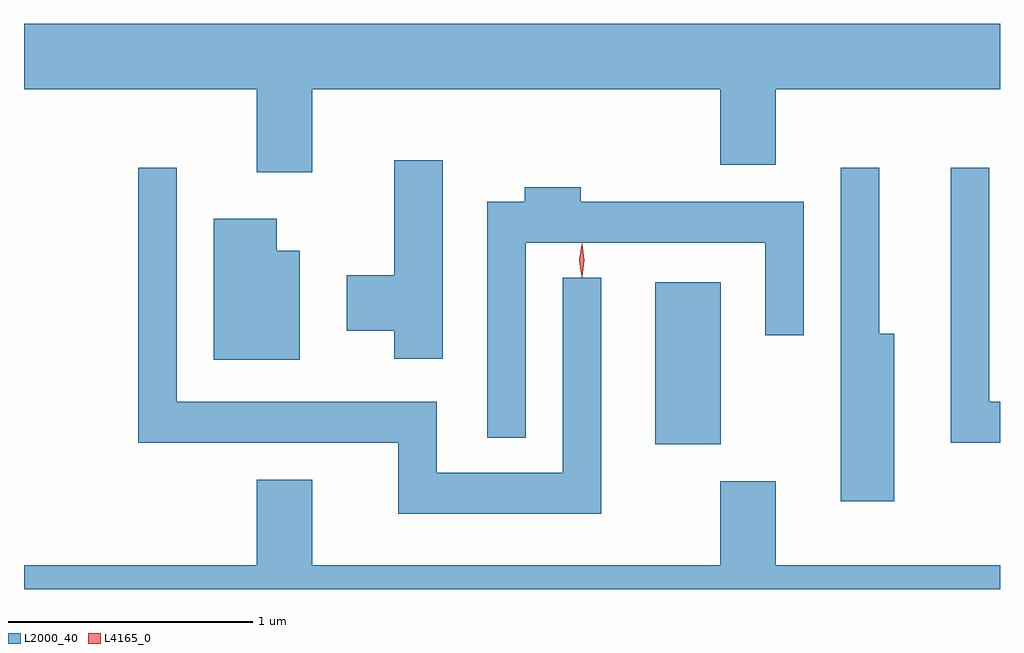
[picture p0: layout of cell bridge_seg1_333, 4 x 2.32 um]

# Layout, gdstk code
import gdstk
lib = gdstk.Library(unit=1e-6, precision=1e-09)
def R(c, l, rs):  # rectangles x0, y0, x1, y1
    for r in rs: c.add(gdstk.rectangle(r[:2], r[2:], *l))
def P(c, l, *ps):  # polygons
    for p in ps: c.add(gdstk.Polygon(p, *l))
L2000_40 = (2000, 40)
L4165_0 = (4165, 0)

bridge_seg1_333 = lib.new_cell('bridge_seg1_333')
R(bridge_seg1_333, L2000_40, [(909.376,880.361,909.644,881.024)])
P(bridge_seg1_333, L2000_40, [(907.969,881.816),(909.641,881.816),(909.641,881.506),(909.869,881.506),(909.869,881.816),(910.788,881.816),(910.788,882.084),(906.788,882.084),(906.788,881.816),(907.741,881.816),(907.741,881.476),(907.969,881.476)],
  [(908.504,881.524),(908.306,881.524),(908.306,881.054),(908.111,881.054),(908.111,880.826),(908.306,880.826),(908.306,880.711),(908.504,880.711)],
  [(910.788,880.534),(910.744,880.534),(910.744,881.493),(910.586,881.493),(910.586,880.366),(910.788,880.366)],
  [(910.354,880.814),(910.294,880.814),(910.294,881.493),(910.136,881.493),(910.136,880.126),(910.354,880.126)],
  [(909.154,881.043),(908.996,881.043),(908.996,880.244),(908.479,880.244),(908.479,880.534),(907.414,880.534),(907.414,881.493),(907.256,881.493),(907.256,880.366),(908.321,880.366),(908.321,880.076),(909.154,880.076)],
  [(908.844,881.186),(909.826,881.186),(909.826,880.808),(909.984,880.808),(909.984,881.354),(909.069,881.354),(909.069,881.414),(908.841,881.414),(908.841,881.354),(908.686,881.354),(908.686,880.388),(908.844,880.388)],
  [(907.919,881.154),(907.824,881.154),(907.824,881.284),(907.566,881.284),(907.566,880.706),(907.919,880.706)],
  [(910.788,879.864),(909.869,879.864),(909.869,880.209),(909.641,880.209),(909.641,879.864),(907.969,879.864),(907.969,880.214),(907.741,880.214),(907.741,879.864),(906.788,879.864),(906.788,879.766),(910.788,879.766)])
P(bridge_seg1_333, L4165_0, [(909.074,881.047),(909.064,881.114),(909.074,881.18),(909.074,881.18),(909.075,881.18),(909.084,881.114),(909.075,881.047),(909.075,881.047)],
  [(909.074,881.044),(909.065,881.114),(909.074,881.183),(909.075,881.183),(909.075,881.183),(909.085,881.114),(909.075,881.044),(909.075,881.044)])

lib.write_gds('bridge_seg1_333.gds')
